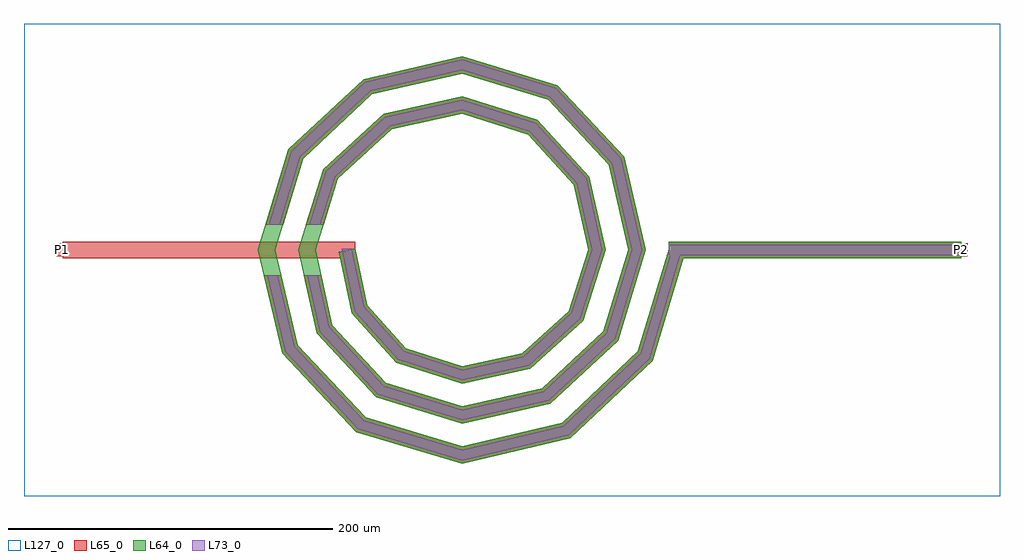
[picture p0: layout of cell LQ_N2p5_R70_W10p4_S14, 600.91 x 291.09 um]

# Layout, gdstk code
import gdstk
lib = gdstk.Library(unit=1e-6, precision=1e-09)
def R(c, l, rs):  # rectangles x0, y0, x1, y1
    for r in rs: c.add(gdstk.rectangle(r[:2], r[2:], *l))
def P(c, l, *ps):  # polygons
    for p in ps: c.add(gdstk.Polygon(p, *l))
L64_0 = (64, 0)
L65_0 = (65, 0)
L73_0 = (73, 0)
L127_0 = (127, 0)

lq_n2p5_r70_w10p4_s14 = lib.new_cell('LQ_N2p5_R70_W10p4_S14')
R(lq_n2p5_r70_w10p4_s14, L64_0, [(127.305,-5.2,307.305,5.2)])
P(lq_n2p5_r70_w10p4_s14, L64_0, [(-58.301,-33.987),(-34.531,-60.361),(0.268,-71.596),(37.053,-63.655),(65.693,-37.634),(77.766,0.248),(69.007,40.121),(40.734,71.027),(0.231,83.935),(-43.191,74.358),(-76.362,43.833),(-90.104,0.216),(-79.708,-46.264),(-46.929,-81.698),(0.203,-96.274),(49.338,-85.057),(87.035,-50.025),(102.444,0.192),(90.406,52.413),(53.119,92.373),(0.181,108.614),(-55.489,95.754),(-97.712,56.212),(-114.783,0.172),(-101.102,-58.566),(-59.304,-103.051),(0.163,-120.953),(61.644,-106.449),(108.39,-62.396),(127.523,1.492),(137.486,-1.492),(117.552,-68.052),(66.747,-115.931),(0.163,-131.716),(-64.973,-112.205),(-110.591,-63.655),(-125.545,0.172),(-106.857,61.896),(-60.562,105.252),(0.181,119.375),(58.819,101.508),(99.913,57.468),(113.205,0.192),(96.159,-55.743),(54.373,-94.575),(0.203,-107.034),(-52.668,-90.81),(-89.238,-51.277),(-100.864,0.216),(-85.459,49.595),(-48.179,83.901),(0.231,94.693),(46.523,80.107),(78.565,45.08),(88.523,0.248),(74.754,-43.453),(41.978,-73.231),(0.268,-82.352),(-40.386,-69.4),(-67.898,-38.873),(-75.891,-1.076),(-65.716,1.076)])
R(lq_n2p5_r70_w10p4_s14, L65_0, [(-245.604,-5.2,-65.604,5.2), (127.305,-5.2,307.305,5.2), (-249.604,-4,-241.604,4), (303.305,-4,311.305,4)])
P(lq_n2p5_r70_w10p4_s14, L65_0, [(-101.102,-58.566),(-59.304,-103.051),(0.164,-120.953),(61.644,-106.449),(108.39,-62.396),(127.523,1.492),(137.486,-1.492),(117.552,-68.052),(66.747,-115.931),(0.164,-131.716),(-64.973,-112.205),(-110.591,-63.655),(-121.85,-15.6),(-111.169,-15.6)],
  [(-79.708,-46.264),(-46.929,-81.698),(0.203,-96.274),(49.338,-85.057),(87.036,-50.025),(102.444,0.192),(90.406,52.413),(53.119,92.373),(0.181,108.614),(-55.489,95.754),(-97.712,56.212),(-110.008,15.6),(-120.874,15.6),(-106.857,61.896),(-60.562,105.252),(0.181,119.375),(58.819,101.509),(99.914,57.468),(113.205,0.192),(96.159,-55.743),(54.373,-94.575),(0.203,-107.034),(-52.668,-90.81),(-89.238,-51.277),(-97.293,-15.6),(-86.631,-15.6)],
  [(-34.531,-60.361),(0.268,-71.596),(37.053,-63.655),(65.693,-37.634),(77.766,0.248),(69.007,40.121),(40.734,71.027),(0.231,83.935),(-43.191,74.358),(-76.362,43.833),(-85.17,15.6),(-96.065,15.6),(-85.459,49.595),(-48.179,83.901),(0.231,94.693),(46.523,80.107),(78.565,45.08),(88.523,0.248),(74.754,-43.453),(41.978,-73.231),(0.268,-82.352),(-40.386,-69.4),(-67.898,-38.874),(-75.891,-1.076),(-65.717,1.076),(-58.301,-33.987)])
R(lq_n2p5_r70_w10p4_s14, L73_0, [(127.305,-3.2,307.305,3.2)])
P(lq_n2p5_r70_w10p4_s14, L73_0, [(-102.927,-59.545),(-60.395,-104.811),(0.101,-123.023),(62.626,-108.273),(110.152,-63.484),(129.439,0.918),(135.57,0.918),(115.79,-66.964),(65.766,-114.107),(0.101,-129.646),(-63.883,-110.445),(-108.766,-62.676),(-119.796,-15.6),(-113.223,-15.6)],
  [(-81.541,-47.228),(-48.033,-83.451),(0.125,-98.343),(50.306,-86.888),(88.79,-51.124),(104.513,0.118),(92.234,53.385),(54.215,94.13),(0.112,110.683),(-56.465,97.581),(-99.47,57.305),(-112.098,15.6),(-118.785,15.6),(-105.098,60.803),(-59.586,103.426),(0.112,117.306),(57.723,99.752),(98.085,56.496),(111.135,0.118),(94.405,-54.643),(53.405,-92.745),(0.125,-104.965),(-51.565,-89.057),(-87.405,-50.313),(-95.243,-15.6),(-88.682,-15.6)],
  [(-35.657,-62.099),(0.165,-73.665),(38,-65.496),(67.436,-38.753),(79.834,0.153),(70.845,41.075),(41.848,72.773),(0.142,86.004),(-44.151,76.193),(-78.112,44.941),(-87.265,15.6),(-93.97,15.6),(-83.71,48.487),(-47.22,82.066),(0.142,92.624),(45.41,78.361),(76.727,44.126),(86.454,0.153),(73.012,-42.334),(41.031,-71.389),(0.165,-80.283),(-39.26,-67.661),(-66.052,-37.934),(-73.935,0.662),(-67.673,0.662),(-60.146,-34.927)])
R(lq_n2p5_r70_w10p4_s14, L127_0, [(-269.604,-151.716,331.305,139.375)])
lq_n2p5_r70_w10p4_s14.add(gdstk.Label('P2', (307.305,0), layer=65, texttype=0))
lq_n2p5_r70_w10p4_s14.add(gdstk.Label('P1', (-245.604,0), layer=65, texttype=0))
lq_n2p5_r70_w10p4_s14.add(gdstk.Label('P2', (311.305,0), layer=145, texttype=0))
lq_n2p5_r70_w10p4_s14.add(gdstk.Label('P1', (-249.604,0), layer=145, texttype=0))

lib.write_gds('LQ_N2p5_R70_W10p4_S14.gds')
